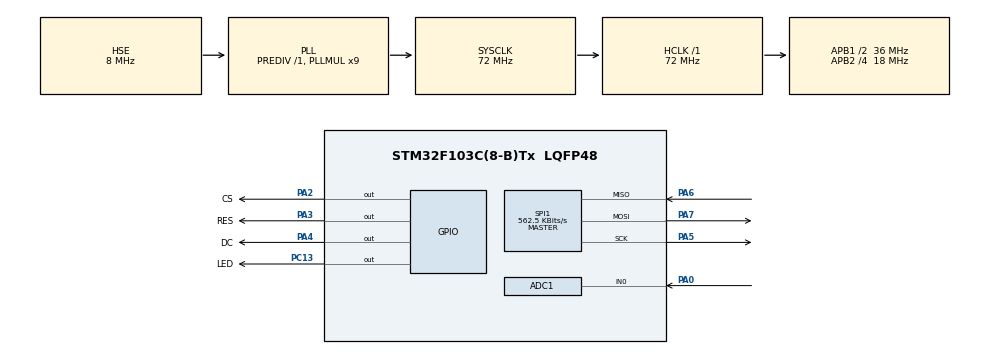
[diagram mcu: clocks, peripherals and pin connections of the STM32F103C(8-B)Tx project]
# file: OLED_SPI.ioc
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ADC1.Channel-0\#ChannelRegularConversion=ADC_CHANNEL_0
ADC1.NbrOfConversionFlag=1
ADC1.Rank-0\#ChannelRegularConversion=1
ADC1.SamplingTime-0\#ChannelRegularConversion=ADC_SAMPLETIME_71CYCLES_5
ADC1.master=1
Mcu.Family=STM32F1
Mcu.Name=STM32F103C(8-B)Tx
Mcu.Package=LQFP48
NVIC.PriorityGroup=NVIC_PRIORITYGROUP_4
PA0-WKUP.Signal=ADCx_IN0
PA2.GPIO_Label=CS
PA2.GPIO_Speed=GPIO_SPEED_FREQ_HIGH
PA2.PinState=GPIO_PIN_SET
PA2.Signal=GPIO_Output
PA3.GPIO_Label=RES
PA3.GPIO_Speed=GPIO_SPEED_FREQ_HIGH
PA3.PinState=GPIO_PIN_SET
PA3.Signal=GPIO_Output
PA4.GPIO_Label=DC
PA4.GPIO_Speed=GPIO_SPEED_FREQ_HIGH
PA4.Signal=GPIO_Output
PA5.Mode=Full_Duplex_Master
PA5.Signal=SPI1_SCK
PA6.Mode=Full_Duplex_Master
PA6.Signal=SPI1_MISO
PA7.Mode=Full_Duplex_Master
PA7.Signal=SPI1_MOSI
PC13-TAMPER-RTC.GPIO_Label=LED
PC13-TAMPER-RTC.Signal=GPIO_Output
PD0-OSC_IN.Mode=HSE-External-Oscillator
PD0-OSC_IN.Signal=RCC_OSC_IN
PD1-OSC_OUT.Mode=HSE-External-Oscillator
PD1-OSC_OUT.Signal=RCC_OSC_OUT
ProjectManager.HeapSize=0x200
ProjectManager.StackSize=0x400
ProjectManager.TargetToolchain=STM32CubeIDE
RCC.AHBFreq_Value=72000000
RCC.APB1CLKDivider=RCC_HCLK_DIV2
RCC.APB1Freq_Value=36000000
RCC.APB1TimFreq_Value=72000000
RCC.APB2CLKDivider=RCC_HCLK_DIV4
RCC.APB2Freq_Value=18000000
RCC.APB2TimFreq_Value=36000000
RCC.HCLKFreq_Value=72000000
RCC.PLLMUL=RCC_PLL_MUL9
RCC.PLLSourceVirtual=RCC_PLLSOURCE_HSE
RCC.SYSCLKFreq_VALUE=72000000
RCC.SYSCLKSource=RCC_SYSCLKSOURCE_PLLCLK
RCC.USBFreq_Value=72000000
SH.ADCx_IN0.0=ADC1_IN0,IN0
SPI1.BaudRatePrescaler=SPI_BAUDRATEPRESCALER_32
SPI1.CalculateBaudRate=562.5 KBits/s
SPI1.Direction=SPI_DIRECTION_2LINES
SPI1.Mode=SPI_MODE_MASTER
SPI1.VirtualType=VM_MASTER
VP_SYS_VS_ND.Mode=No_Debug
board=custom

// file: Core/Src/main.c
/* USER CODE BEGIN Header */
/**
  ******************************************************************************
  * @file           : main.c
  * @brief          : Main program body
  ******************************************************************************
  * @attention
  *
  * Copyright (c) 2025 STMicroelectronics.
  * All rights reserved.
  *
  * This software is licensed under terms that can be found in the LICENSE file
  * in the root directory of this software component.
  * If no LICENSE file comes with this software, it is provided AS-IS.
  *
  ******************************************************************************
  */
/* USER CODE END Header */
#include "main.h"

/* USER CODE BEGIN Includes */
#include "stdio.h"
#include "ssd1306.h"
/* USER CODE END Includes */

ADC_HandleTypeDef hadc1;

SPI_HandleTypeDef hspi1;

void SystemClock_Config(void);
static void MX_GPIO_Init(void);
static void MX_ADC1_Init(void);
static void MX_SPI1_Init(void);

int main(void)
{

  /* MCU Configuration--------------------------------------------------------*/

  /* Reset of all peripherals, Initializes the Flash interface and the Systick. */
  HAL_Init();

  /* Configure the system clock */
  SystemClock_Config();

  /* Initialize all configured peripherals */
  MX_GPIO_Init();
  MX_ADC1_Init();
  MX_SPI1_Init();
  /* USER CODE BEGIN 2 */

  /* --- INÍCIO DO EXEMPLO SSD1306 --- */

    // 1. Inicializa o Display
    SSD1306_Init();

    // 2. Limpa a tela (preenche com preto)
    SSD1306_Fill(Black);

    /* --- EXEMPLO 1: Texto Simples ("Hello World") --- */
    SSD1306_SetCursor(0, 0); // Canto superior esquerdo
    SSD1306_WriteString("Hello World!", White);

    /* --- EXEMPLO 2: Número Inteiro --- */
    int contador = 12345;
    char bufferTexto[32]; // Buffer temporário para guardar a string formatada

    // Formata o int para string. O "%d" é o placeholder para int.
    snprintf(bufferTexto, sizeof(bufferTexto), "Int: %d", contador);

    SSD1306_SetCursor(0, 12); // Pula 12 pixels para baixo (fonte tem ~8px)
    SSD1306_WriteString(bufferTexto, White);

    /* --- EXEMPLO 3: Número Float --- */
    float temperatura = 24.75;

    // Formata float para string. "%.2f" significa float com 2 casas decimais.
    snprintf(bufferTexto, sizeof(bufferTexto), "Temp: %.2f C", temperatura);

    SSD1306_SetCursor(0, 24); // Mais uma linha abaixo
    SSD1306_WriteString(bufferTexto, White);

    // 3. ATUALIZA A TELA (Manda o buffer da RAM do STM32 para o OLED)
    // Sem isso nada aparece!
    SSD1306_UpdateScreen();
    HAL_Delay(10000);

    float voltagem = 0.0;
    uint16_t ValorADCBruto = 0;

  /* USER CODE END 2 */

  /* Infinite loop */
  while (1)
  {

    /* USER CODE BEGIN 3 */

	  	  HAL_ADC_Start( &hadc1); // Inicia a conversão ADC
	  	  HAL_ADC_PollForConversion(&hadc1, 10);  // Espera a conversão ser concluída
	  	  ValorADCBruto = HAL_ADC_GetValue(&hadc1);  // Lê o valor convertido - Devolve um numero entre 0 e 4096
	  	  HAL_ADC_Stop(&hadc1); //Desabilita o periférico

	        voltagem = ValorADCBruto*(3.3/4095);

	        SSD1306_Fill(Black);//limpa tela

	        // Redesenha o cabeçalho fixo
	        SSD1306_SetCursor(0, 0);
	        SSD1306_WriteString("LEITURA ADC 0:", White);

	        // Exibe Float Dinâmico
	        snprintf(bufferTexto, sizeof(bufferTexto), "Volts: %.1f V", voltagem);
	        SSD1306_SetCursor(0, 9);
	        SSD1306_WriteString(bufferTexto, White);
	        SSD1306_SetCursor(0, 18);
	        SSD1306_WriteString(bufferTexto, White);
	        SSD1306_SetCursor(0, 27);
	        SSD1306_WriteString(bufferTexto, White);
	        SSD1306_SetCursor(0, 36);
	        SSD1306_WriteString(bufferTexto, White);
	        SSD1306_SetCursor(0, 45);
	        SSD1306_WriteString(bufferTexto, White);
	        SSD1306_SetCursor(0, 54);
	        SSD1306_WriteString(bufferTexto, White);

	        // Atualiza
	        SSD1306_UpdateScreen();

	        HAL_Delay(50); // Aguarda meio segundo
  }
  /* USER CODE END 3 */
}

void SystemClock_Config(void)
{
  RCC_OscInitTypeDef RCC_OscInitStruct = {0};
  RCC_ClkInitTypeDef RCC_ClkInitStruct = {0};
  RCC_PeriphCLKInitTypeDef PeriphClkInit = {0};

  /** Initializes the RCC Oscillators according to the specified parameters
  * in the RCC_OscInitTypeDef structure.
  */
  RCC_OscInitStruct.OscillatorType = RCC_OSCILLATORTYPE_HSE;
  RCC_OscInitStruct.HSEState = RCC_HSE_ON;
  RCC_OscInitStruct.HSEPredivValue = RCC_HSE_PREDIV_DIV1;
  RCC_OscInitStruct.HSIState = RCC_HSI_ON;
  RCC_OscInitStruct.PLL.PLLState = RCC_PLL_ON;
  RCC_OscInitStruct.PLL.PLLSource = RCC_PLLSOURCE_HSE;
  RCC_OscInitStruct.PLL.PLLMUL = RCC_PLL_MUL9;
  if (HAL_RCC_OscConfig(&RCC_OscInitStruct) != HAL_OK)
  {
    Error_Handler();
  }

  /** Initializes the CPU, AHB and APB buses clocks
  */
  RCC_ClkInitStruct.ClockType = RCC_CLOCKTYPE_HCLK|RCC_CLOCKTYPE_SYSCLK
                              |RCC_CLOCKTYPE_PCLK1|RCC_CLOCKTYPE_PCLK2;
  RCC_ClkInitStruct.SYSCLKSource = RCC_SYSCLKSOURCE_PLLCLK;
  RCC_ClkInitStruct.AHBCLKDivider = RCC_SYSCLK_DIV1;
  RCC_ClkInitStruct.APB1CLKDivider = RCC_HCLK_DIV2;
  RCC_ClkInitStruct.APB2CLKDivider = RCC_HCLK_DIV4;

  if (HAL_RCC_ClockConfig(&RCC_ClkInitStruct, FLASH_LATENCY_2) != HAL_OK)
  {
    Error_Handler();
  }
  PeriphClkInit.PeriphClockSelection = RCC_PERIPHCLK_ADC;
  PeriphClkInit.AdcClockSelection = RCC_ADCPCLK2_DIV2;
  if (HAL_RCCEx_PeriphCLKConfig(&PeriphClkInit) != HAL_OK)
  {
    Error_Handler();
  }
}

static void MX_ADC1_Init(void)
{

  ADC_ChannelConfTypeDef sConfig = {0};

  /** Common config
  */
  hadc1.Instance = ADC1;
  hadc1.Init.ScanConvMode = ADC_SCAN_DISABLE;
  hadc1.Init.ContinuousConvMode = DISABLE;
  hadc1.Init.DiscontinuousConvMode = DISABLE;
  hadc1.Init.ExternalTrigConv = ADC_SOFTWARE_START;
  hadc1.Init.DataAlign = ADC_DATAALIGN_RIGHT;
  hadc1.Init.NbrOfConversion = 1;
  if (HAL_ADC_Init(&hadc1) != HAL_OK)
  {
    Error_Handler();
  }

  /** Configure Regular Channel
  */
  sConfig.Channel = ADC_CHANNEL_0;
  sConfig.Rank = ADC_REGULAR_RANK_1;
  sConfig.SamplingTime = ADC_SAMPLETIME_71CYCLES_5;
  if (HAL_ADC_ConfigChannel(&hadc1, &sConfig) != HAL_OK)
  {
    Error_Handler();
  }

}

static void MX_SPI1_Init(void)
{

  /* SPI1 parameter configuration*/
  hspi1.Instance = SPI1;
  hspi1.Init.Mode = SPI_MODE_MASTER;
  hspi1.Init.Direction = SPI_DIRECTION_2LINES;
  hspi1.Init.DataSize = SPI_DATASIZE_8BIT;
  hspi1.Init.CLKPolarity = SPI_POLARITY_LOW;
  hspi1.Init.CLKPhase = SPI_PHASE_1EDGE;
  hspi1.Init.NSS = SPI_NSS_SOFT;
  hspi1.Init.BaudRatePrescaler = SPI_BAUDRATEPRESCALER_32;
  hspi1.Init.FirstBit = SPI_FIRSTBIT_MSB;
  hspi1.Init.TIMode = SPI_TIMODE_DISABLE;
  hspi1.Init.CRCCalculation = SPI_CRCCALCULATION_DISABLE;
  hspi1.Init.CRCPolynomial = 10;
  if (HAL_SPI_Init(&hspi1) != HAL_OK)
  {
    Error_Handler();
  }

}

static void MX_GPIO_Init(void)
{
  GPIO_InitTypeDef GPIO_InitStruct = {0};

  /* GPIO Ports Clock Enable */
  __HAL_RCC_GPIOC_CLK_ENABLE();
  __HAL_RCC_GPIOD_CLK_ENABLE();
  __HAL_RCC_GPIOA_CLK_ENABLE();

  /*Configure GPIO pin Output Level */
  HAL_GPIO_WritePin(LED_GPIO_Port, LED_Pin, GPIO_PIN_RESET);

  /*Configure GPIO pin Output Level */
  HAL_GPIO_WritePin(GPIOA, CS_Pin|RES_Pin, GPIO_PIN_SET);

  /*Configure GPIO pin Output Level */
  HAL_GPIO_WritePin(DC_GPIO_Port, DC_Pin, GPIO_PIN_RESET);

  /*Configure GPIO pin : LED_Pin */
  GPIO_InitStruct.Pin = LED_Pin;
  GPIO_InitStruct.Mode = GPIO_MODE_OUTPUT_PP;
  GPIO_InitStruct.Pull = GPIO_NOPULL;
  GPIO_InitStruct.Speed = GPIO_SPEED_FREQ_LOW;
  HAL_GPIO_Init(LED_GPIO_Port, &GPIO_InitStruct);

  /*Configure GPIO pins : CS_Pin RES_Pin DC_Pin */
  GPIO_InitStruct.Pin = CS_Pin|RES_Pin|DC_Pin;
  GPIO_InitStruct.Mode = GPIO_MODE_OUTPUT_PP;
  GPIO_InitStruct.Pull = GPIO_NOPULL;
  GPIO_InitStruct.Speed = GPIO_SPEED_FREQ_HIGH;
  HAL_GPIO_Init(GPIOA, &GPIO_InitStruct);

}

void Error_Handler(void)
{
  __disable_irq();
  while (1)
  {
  }
}
